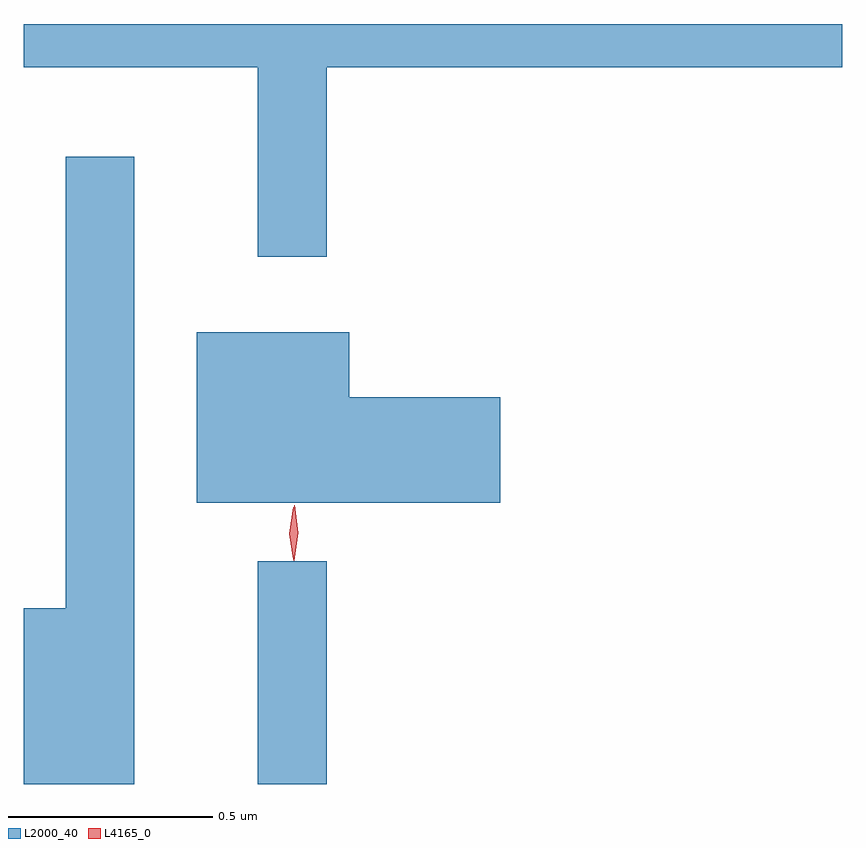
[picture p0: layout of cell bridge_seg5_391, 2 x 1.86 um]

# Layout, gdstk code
import gdstk
lib = gdstk.Library(unit=1e-6, precision=1e-09)
def R(c, l, rs):  # rectangles x0, y0, x1, y1
    for r in rs: c.add(gdstk.rectangle(r[:2], r[2:], *l))
def P(c, l, *ps):  # polygons
    for p in ps: c.add(gdstk.Polygon(p, *l))
L2000_40 = (2000, 40)
L4165_0 = (4165, 0)

bridge_seg5_391 = lib.new_cell('bridge_seg5_391')
R(bridge_seg5_391, L2000_40, [(602.291,1528.304,602.459,1528.848)])
P(bridge_seg5_391, L2000_40, [(602.459,1530.056),(603.719,1530.056),(603.719,1530.162),(601.719,1530.162),(601.719,1530.056),(602.291,1530.056),(602.291,1529.593),(602.459,1529.593)],
  [(601.989,1529.838),(601.821,1529.838),(601.821,1528.734),(601.719,1528.734),(601.719,1528.304),(601.989,1528.304)],
  [(602.884,1529.249),(602.514,1529.249),(602.514,1529.409),(602.141,1529.409),(602.141,1528.991),(602.884,1528.991)])
P(bridge_seg5_391, L4165_0, [(602.377,1528.853),(602.377,1528.853),(602.367,1528.916),(602.377,1528.98),(602.377,1528.98),(602.378,1528.98),(602.387,1528.916),(602.378,1528.853)],
  [(602.379,1528.85),(602.379,1528.85),(602.37,1528.918),(602.38,1528.985),(602.381,1528.986),(602.381,1528.985),(602.39,1528.918),(602.38,1528.85)])

lib.write_gds('bridge_seg5_391.gds')
